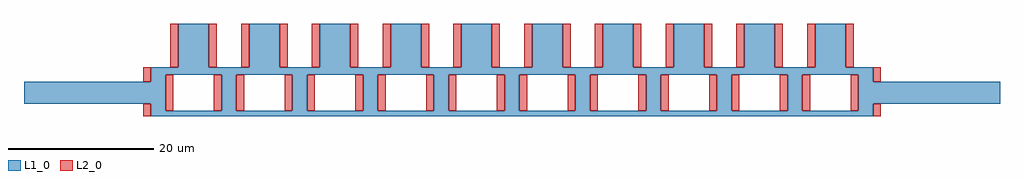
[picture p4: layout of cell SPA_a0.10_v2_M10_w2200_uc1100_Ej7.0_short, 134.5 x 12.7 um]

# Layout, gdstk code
import gdstk
lib = gdstk.Library(unit=1e-6, precision=1e-09)
def R(c, l, rs):  # rectangles x0, y0, x1, y1
    for r in rs: c.add(gdstk.rectangle(r[:2], r[2:], *l))
def A(c, l, x, y, w, h, nx, ny, dx, dy):  # array of equal rectangles
    R(c, l, [(x+i*dx, y+j*dy, x+i*dx+w, y+j*dy+h) for i in range(nx) for j in range(ny)])
def P(c, l, *ps):  # polygons
    for p in ps: c.add(gdstk.Polygon(p, *l))
L1_0 = (1, 0)
L2_0 = (2, 0)

spa_a0_10_v2_m10_w2200_u = lib.new_cell('SPA_a0.10_v2_M10_w2200_uc1100_Ej7.0_short')
A(spa_a0_10_v2_m10_w2200_u, L1_0, -44.975, 2.5, 2.2, 7, 10, 1, 9.75, 0)
R(spa_a0_10_v2_m10_w2200_u, L1_0, [(-67.25,-1.5,-49.75,1.5), (49.75,-1.5,67.25,1.5)])
P(spa_a0_10_v2_m10_w2200_u, L1_0, [(-49.75,-3.2),(-49.75,3.5),(-45.975,3.5),(-45.975,9.5),(-44.975,9.5),(-44.975,2.5),(-47.75,2.5),(-47.75,-2.5),(-43.875,-2.5),(-43.875,-3.2),(-44.875,-3.2),(-44.875,-3.2)],
  [(-39,-3.2),(-39,3.5),(-41.775,3.5),(-41.775,9.5),(-42.775,9.5),(-42.775,2.5),(-40,2.5),(-40,-2.5),(-43.875,-2.5),(-43.875,-3.2),(-42.875,-3.2),(-42.875,-3.2)],
  [(-39,-3.2),(-39,3.5),(-36.225,3.5),(-36.225,9.5),(-35.225,9.5),(-35.225,2.5),(-38,2.5),(-38,-2.5),(-34.125,-2.5),(-34.125,-3.2),(-35.125,-3.2),(-35.125,-3.2)],
  [(-29.25,-3.2),(-29.25,3.5),(-32.025,3.5),(-32.025,9.5),(-33.025,9.5),(-33.025,2.5),(-30.25,2.5),(-30.25,-2.5),(-34.125,-2.5),(-34.125,-3.2),(-33.125,-3.2),(-33.125,-3.2)],
  [(-29.25,-3.2),(-29.25,3.5),(-26.475,3.5),(-26.475,9.5),(-25.475,9.5),(-25.475,2.5),(-28.25,2.5),(-28.25,-2.5),(-24.375,-2.5),(-24.375,-3.2),(-25.375,-3.2),(-25.375,-3.2)],
  [(-19.5,-3.2),(-19.5,3.5),(-22.275,3.5),(-22.275,9.5),(-23.275,9.5),(-23.275,2.5),(-20.5,2.5),(-20.5,-2.5),(-24.375,-2.5),(-24.375,-3.2),(-23.375,-3.2),(-23.375,-3.2)],
  [(-19.5,-3.2),(-19.5,3.5),(-16.725,3.5),(-16.725,9.5),(-15.725,9.5),(-15.725,2.5),(-18.5,2.5),(-18.5,-2.5),(-14.625,-2.5),(-14.625,-3.2),(-15.625,-3.2),(-15.625,-3.2)],
  [(-9.75,-3.2),(-9.75,3.5),(-12.525,3.5),(-12.525,9.5),(-13.525,9.5),(-13.525,2.5),(-10.75,2.5),(-10.75,-2.5),(-14.625,-2.5),(-14.625,-3.2),(-13.625,-3.2),(-13.625,-3.2)],
  [(-9.75,-3.2),(-9.75,3.5),(-6.975,3.5),(-6.975,9.5),(-5.975,9.5),(-5.975,2.5),(-8.75,2.5),(-8.75,-2.5),(-4.875,-2.5),(-4.875,-3.2),(-5.875,-3.2),(-5.875,-3.2)],
  [(0,-3.2),(0,3.5),(-2.775,3.5),(-2.775,9.5),(-3.775,9.5),(-3.775,2.5),(-1,2.5),(-1,-2.5),(-4.875,-2.5),(-4.875,-3.2),(-3.875,-3.2),(-3.875,-3.2)],
  [(0,-3.2),(0,3.5),(2.775,3.5),(2.775,9.5),(3.775,9.5),(3.775,2.5),(1,2.5),(1,-2.5),(4.875,-2.5),(4.875,-3.2),(3.875,-3.2),(3.875,-3.2)],
  [(9.75,-3.2),(9.75,3.5),(6.975,3.5),(6.975,9.5),(5.975,9.5),(5.975,2.5),(8.75,2.5),(8.75,-2.5),(4.875,-2.5),(4.875,-3.2),(5.875,-3.2),(5.875,-3.2)],
  [(9.75,-3.2),(9.75,3.5),(12.525,3.5),(12.525,9.5),(13.525,9.5),(13.525,2.5),(10.75,2.5),(10.75,-2.5),(14.625,-2.5),(14.625,-3.2),(13.625,-3.2),(13.625,-3.2)],
  [(19.5,-3.2),(19.5,3.5),(16.725,3.5),(16.725,9.5),(15.725,9.5),(15.725,2.5),(18.5,2.5),(18.5,-2.5),(14.625,-2.5),(14.625,-3.2),(15.625,-3.2),(15.625,-3.2)],
  [(19.5,-3.2),(19.5,3.5),(22.275,3.5),(22.275,9.5),(23.275,9.5),(23.275,2.5),(20.5,2.5),(20.5,-2.5),(24.375,-2.5),(24.375,-3.2),(23.375,-3.2),(23.375,-3.2)],
  [(29.25,-3.2),(29.25,3.5),(26.475,3.5),(26.475,9.5),(25.475,9.5),(25.475,2.5),(28.25,2.5),(28.25,-2.5),(24.375,-2.5),(24.375,-3.2),(25.375,-3.2),(25.375,-3.2)],
  [(29.25,-3.2),(29.25,3.5),(32.025,3.5),(32.025,9.5),(33.025,9.5),(33.025,2.5),(30.25,2.5),(30.25,-2.5),(34.125,-2.5),(34.125,-3.2),(33.125,-3.2),(33.125,-3.2)],
  [(39,-3.2),(39,3.5),(36.225,3.5),(36.225,9.5),(35.225,9.5),(35.225,2.5),(38,2.5),(38,-2.5),(34.125,-2.5),(34.125,-3.2),(35.125,-3.2),(35.125,-3.2)],
  [(39,-3.2),(39,3.5),(41.775,3.5),(41.775,9.5),(42.775,9.5),(42.775,2.5),(40,2.5),(40,-2.5),(43.875,-2.5),(43.875,-3.2),(42.875,-3.2),(42.875,-3.2)],
  [(49.75,-3.2),(49.75,3.5),(45.975,3.5),(45.975,9.5),(44.975,9.5),(44.975,2.5),(47.75,2.5),(47.75,-2.5),(43.875,-2.5),(43.875,-3.2),(44.875,-3.2),(44.875,-3.2)])
R(spa_a0_10_v2_m10_w2200_u, L2_0, [(-50.85,-3.2,-49.75,-1.5), (49.75,-3.2,50.85,-1.5), (-47.75,-2.5,-46.65,2.5), (-41.1,-2.5,-40,2.5), (-38,-2.5,-36.9,2.5), (-31.35,-2.5,-30.25,2.5), (-28.25,-2.5,-27.15,2.5), (-21.6,-2.5,-20.5,2.5), (-18.5,-2.5,-17.4,2.5), (-11.85,-2.5,-10.75,2.5), (-8.75,-2.5,-7.65,2.5), (-2.1,-2.5,-1,2.5), (1,-2.5,2.1,2.5), (7.65,-2.5,8.75,2.5), (10.75,-2.5,11.85,2.5), (17.4,-2.5,18.5,2.5), (20.5,-2.5,21.6,2.5), (27.15,-2.5,28.25,2.5), (30.25,-2.5,31.35,2.5), (36.9,-2.5,38,2.5), (40,-2.5,41.1,2.5), (46.65,-2.5,47.75,2.5), (-50.85,1.5,-49.75,3.5), (49.75,1.5,50.85,3.5), (-47.075,3.5,-45.975,9.5), (-41.775,3.5,-40.675,9.5), (-37.325,3.5,-36.225,9.5), (-32.025,3.5,-30.925,9.5), (-27.575,3.5,-26.475,9.5), (-22.275,3.5,-21.175,9.5), (-17.825,3.5,-16.725,9.5), (-12.525,3.5,-11.425,9.5), (-8.075,3.5,-6.975,9.5), (-2.775,3.5,-1.675,9.5), (1.675,3.5,2.775,9.5), (6.975,3.5,8.075,9.5), (11.425,3.5,12.525,9.5), (16.725,3.5,17.825,9.5), (21.175,3.5,22.275,9.5), (26.475,3.5,27.575,9.5), (30.925,3.5,32.025,9.5), (36.225,3.5,37.325,9.5), (40.675,3.5,41.775,9.5), (45.975,3.5,47.075,9.5)])

lib.write_gds('SPA_a0.10_v2_M10_w2200_uc1100_Ej7.0_short.gds')
